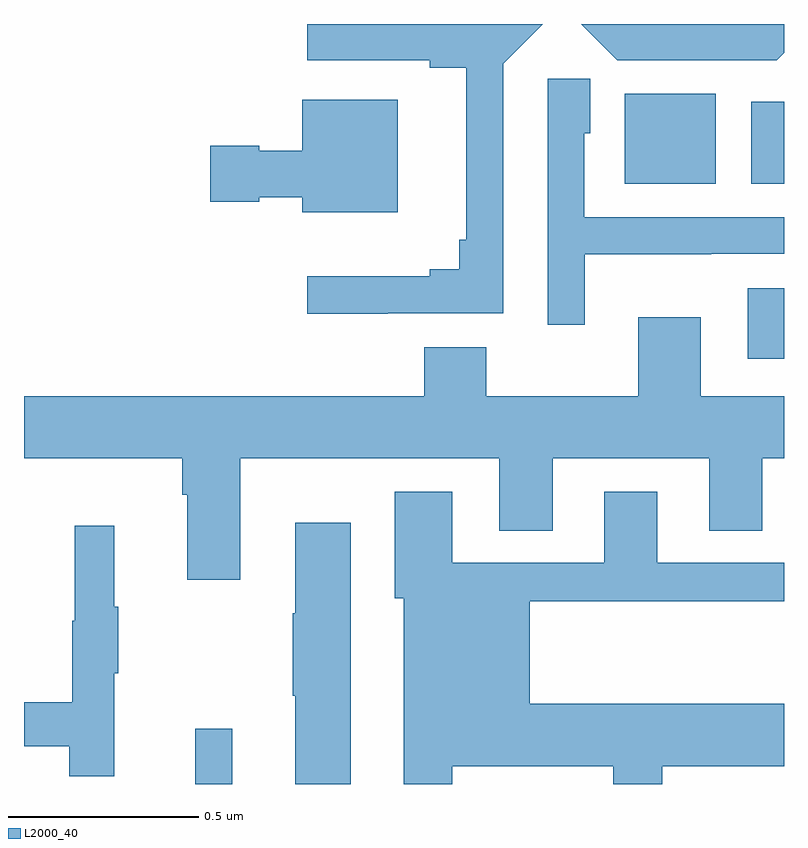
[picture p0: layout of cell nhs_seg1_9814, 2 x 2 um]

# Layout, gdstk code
import gdstk
lib = gdstk.Library(unit=1e-6, precision=1e-09)
def R(c, l, rs):  # rectangles x0, y0, x1, y1
    for r in rs: c.add(gdstk.rectangle(r[:2], r[2:], *l))
def P(c, l, *ps):  # polygons
    for p in ps: c.add(gdstk.Polygon(p, *l))
L2000_40 = (2000, 40)

nhs_seg1_9814 = lib.new_cell('nhs_seg1_9814')
R(nhs_seg1_9814, L2000_40, [(233.451,560.199,233.548,560.344), (234.905,561.318,235,561.504), (234.581,561.779,234.82,562.015), (234.914,561.779,235,561.994)])
P(nhs_seg1_9814, L2000_40, [(235,562.123),(235,562.199),(234.466,562.199),(234.561,562.104),(234.981,562.104)],
  [(233.957,561.438),(234.261,561.438),(234.261,562.095),(234.365,562.199),(233.745,562.199),(233.745,562.104),(234.068,562.104),(234.068,562.084),(234.164,562.084),(234.164,561.631),(234.145,561.631),(234.145,561.554),(234.068,561.554),(234.068,561.535),(233.745,561.535),(233.745,561.437),(233.957,561.437)],
  [(234.475,561.593),(234.809,561.593),(234.809,561.594),(235,561.594),(235,561.69),(234.474,561.69),(234.474,561.912),(234.49,561.912),(234.49,562.055),(234.378,562.055),(234.378,561.408),(234.475,561.408)],
  [(233.983,562),(233.732,562),(233.732,561.865),(233.619,561.865),(233.619,561.878),(233.49,561.878),(233.49,561.731),(233.619,561.731),(233.619,561.743),(233.732,561.743),(233.732,561.704),(233.983,561.704)],
  [(233.569,561.056),(234.251,561.056),(234.251,560.866),(234.391,560.866),(234.391,561.056),(234.803,561.056),(234.803,560.866),(234.943,560.866),(234.943,561.056),(235,561.056),(235,561.22),(234.781,561.22),(234.781,561.427),(234.617,561.427),(234.617,561.22),(234.217,561.22),(234.217,561.349),(234.053,561.349),(234.053,561.22),(233,561.22),(233,561.056),(233.417,561.056),(233.417,560.96),(233.429,560.96),(233.429,560.736),(233.569,560.736)],
  [(234.127,560.246),(234.551,560.246),(234.551,560.199),(234.679,560.199),(234.679,560.246),(235,560.246),(235,560.41),(234.331,560.41),(234.331,560.68),(235,560.68),(235,560.781),(234.667,560.781),(234.667,560.968),(234.527,560.968),(234.527,560.781),(234.127,560.781),(234.127,560.968),(233.975,560.968),(233.975,560.688),(233.999,560.688),(233.999,560.199),(234.127,560.199)],
  [(233.86,560.887),(233.714,560.887),(233.714,560.648),(233.707,560.648),(233.707,560.431),(233.714,560.431),(233.714,560.199),(233.86,560.199)],
  [(233.237,560.491),(233.248,560.491),(233.248,560.665),(233.237,560.665),(233.237,560.878),(233.134,560.878),(233.134,560.628),(233.127,560.628),(233.127,560.414),(233,560.414),(233,560.298),(233.119,560.298),(233.119,560.22),(233.237,560.22)])

lib.write_gds('nhs_seg1_9814.gds')
